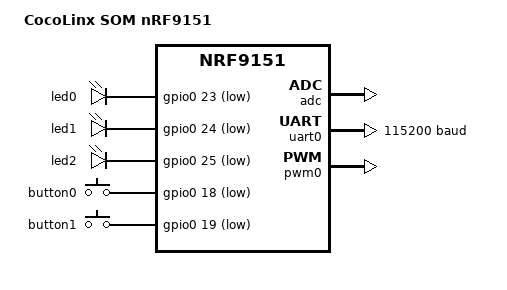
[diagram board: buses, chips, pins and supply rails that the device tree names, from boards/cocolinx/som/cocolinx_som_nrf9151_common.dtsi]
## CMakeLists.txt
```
cmake_minimum_required(VERSION 3.20.0)
find_package(Zephyr REQUIRED HINTS $ENV{ZEPHYR_BASE})

project(led_pwm)

target_sources(app PRIVATE src/main.c)
```

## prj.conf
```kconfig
CONFIG_FPU=y

# Stacks and heaps
CONFIG_MAIN_STACK_SIZE=4096
CONFIG_HEAP_MEM_POOL_SIZE=4096

# Log
CONFIG_LOG=y
CONFIG_LOG_DEFAULT_LEVEL=3
CONFIG_LOG_BUFFER_SIZE=2048
CONFIG_LOG_BACKEND_RTT=n
CONFIG_LOG_BACKEND_UART=y
CONFIG_LOG_BACKEND_UART_BUFFER_SIZE=2048

# Modem library
CONFIG_NRF_MODEM_LIB=y
CONFIG_NRF_MODEM_LIB_TRACE=n
CONFIG_ZVFS_OPEN_MAX=8

# FLASH # NVS
CONFIG_FLASH=y
CONFIG_FLASH_MAP=y
CONFIG_FLASH_PAGE_LAYOUT=y
CONFIG_MPU_ALLOW_FLASH_WRITE=y
CONFIG_NVS=y

# PWM
CONFIG_PWM=y
```

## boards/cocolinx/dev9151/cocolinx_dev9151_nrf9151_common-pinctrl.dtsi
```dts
/*
 * Copyright (c) 2023 cocolinx
 * SPDX-License-Identifier: Apache-2.0
 */

&pinctrl {
	uart0_default: uart0_default {
		group1 {
			psels = <NRF_PSEL(UART_TX, 0, 21)>,
					<NRF_PSEL(UART_RX, 0, 22)>;
		};
	};
	uart0_sleep: uart0_sleep {
		group1 {
			psels = <NRF_PSEL(UART_TX, 0, 21)>,
					<NRF_PSEL(UART_RX, 0, 22)>;
			low-power-enable;
		};
	};
	// uart2_default: uart2_default {
	// 	group1 {
	// 		psels = <NRF_PSEL(UART_TX, 0, 8)>,
	// 				<NRF_PSEL(UART_RX, 0, 9)>;
	// 	};
	// };
	// uart2_sleep: uart2_sleep {
	// 	group1 {
	// 		psels = <NRF_PSEL(UART_TX, 0, 8)>,
	// 				<NRF_PSEL(UART_RX, 0, 9)>;
	// 		low-power-enable;
	// 	};
	// };

	pwm0_default: pwm0_default {
		group1 {
			psels = <NRF_PSEL(PWM_OUT0, 0, 28)>;
		};
	};

	pwm0_sleep: pwm0_sleep {
		group1 {
			psels = <NRF_PSEL(PWM_OUT0, 0, 28)>;
			low-power-enable;
		};
	};

	// spi3_default: spi3_default {
	// 	group1 {
	// 		psels = <NRF_PSEL(SPIM_SCK, 0, 29)>,
	// 			<NRF_PSEL(SPIM_MOSI, 0, 31)>,
	// 			<NRF_PSEL(SPIM_MISO, 0, 13)>;
	// 	};
	// };

	// spi3_sleep: spi3_sleep {
	// 	group1 {
	// 		psels = <NRF_PSEL(SPIM_SCK, 0, 29)>,
	// 			<NRF_PSEL(SPIM_MOSI, 0, 31)>,
	// 			<NRF_PSEL(SPIM_MISO, 0, 13)>;
	// 		low-power-enable;
	// 	};
	// };

	// i2c1_default: i2c1_default {
	// 	group1 {
	// 		psels = <NRF_PSEL(TWIM_SDA, 0, 26)>,
	// 			<NRF_PSEL(TWIM_SCL, 0, 27)>;
	// 	};
	// };

	// i2c1_sleep: i2c1_sleep {
	// 	group1 {
	// 		psels = <NRF_PSEL(TWIM_SDA, 0, 26)>,
	// 			<NRF_PSEL(TWIM_SCL, 0, 27)>;
	// 		low-power-enable;
	// 	};
	// };

	// pwm0_default: pwm0_default {
	// 	group1 {
	// 		psels = <NRF_PSEL(PWM_OUT0, 0, 3)>;
	// 	};
	// };

	// pwm0_sleep: pwm0_sleep {
	// 	group1 {
	// 		psels = <NRF_PSEL(PWM_OUT0, 0, 3)>;
	// 		low-power-enable;
	// 	};
	// };
};
```

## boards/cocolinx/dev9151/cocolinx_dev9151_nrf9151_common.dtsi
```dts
/*
 * Copyright (c) 2023 cocolinx
 *
 * SPDX-License-Identifier: Apache-2.0
 */
#include "cocolinx_dev9151_nrf9151_common-pinctrl.dtsi"
#include <zephyr/dt-bindings/input/input-event-codes.h>

/ {
	model = "cocolinx dev9151 nRF9151";
	compatible = "cocolinx,dev9151-nrf9151";

	chosen {
		zephyr,console = &uart0;
		zephyr,shell-uart = &uart0;
		zephyr,uart-mcumgr = &uart0;
	};

	aliases {
		watchdog0 = &wdt0;
	};
};

&adc {
	status = "okay";
};

&gpiote {
	status = "okay";
};

&gpio0 {
	status = "okay";
};

&uart0 {
	status = "okay";
	current-speed = <115200>;
	pinctrl-0 = <&uart0_default>;
	pinctrl-1 = <&uart0_sleep>;
	pinctrl-names = "default", "sleep";
};

// &uart2 {
// 	status = "okay";
// 	current-speed = <115200>;
// 	pinctrl-0 = <&uart2_default>;
// 	pinctrl-1 = <&uart2_sleep>;
// 	pinctrl-names = "default", "sleep";
// };

// &spi3 {
// 	compatible = "nordic,nrf-spim";
// 	status = "okay";
// 	cs-gpios = < &gpio0 30 GPIO_ACTIVE_LOW >;
// 	pinctrl-0 = <&spi3_default>;
// 	pinctrl-1 = <&spi3_sleep>;
// 	pinctrl-names = "default", "sleep";	
// };

// &i2c1 {
// 	compatible = "nordic,nrf-twim";
// 	status = "okay";
// 	pinctrl-0 = <&i2c1_default>;
// 	pinctrl-1 = <&i2c1_sleep>;
// 	pinctrl-names = "default", "sleep";
// };

&pwm0 {
	status = "okay";
	pinctrl-0 = <&pwm0_default>;
	pinctrl-1 = <&pwm0_sleep>;
	pinctrl-names = "default", "sleep";
};

/* Include default memory partition configuration file */
#include <nordic/nrf91xx_partition.dtsi>
```

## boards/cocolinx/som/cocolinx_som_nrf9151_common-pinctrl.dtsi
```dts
/*
 * Copyright (c) 2025 cocolinx
 * SPDX-License-Identifier: Apache-2.0
 */

&pinctrl {
	uart0_default: uart0_default {
		group1 {
			psels = <NRF_PSEL(UART_TX, 0, 21)>,
					<NRF_PSEL(UART_RX, 0, 22)>;
		};
	};
	uart0_sleep: uart0_sleep {
		group1 {
			psels = <NRF_PSEL(UART_TX, 0, 21)>,
					<NRF_PSEL(UART_RX, 0, 22)>;
			low-power-enable;
		};
	};
	// uart2_default: uart2_default {
	// 	group1 {
	// 		psels = <NRF_PSEL(UART_TX, 0, 8)>,
	// 				<NRF_PSEL(UART_RX, 0, 9)>;
	// 	};
	// };
	// uart2_sleep: uart2_sleep {
	// 	group1 {
	// 		psels = <NRF_PSEL(UART_TX, 0, 8)>,
	// 				<NRF_PSEL(UART_RX, 0, 9)>;
	// 		low-power-enable;
	// 	};
	// };

	pwm0_default: pwm0_default {
		group1 {
			psels = <NRF_PSEL(PWM_OUT0, 0, 28)>;
		};
	};

	pwm0_sleep: pwm0_sleep {
		group1 {
			psels = <NRF_PSEL(PWM_OUT0, 0, 28)>;
			low-power-enable;
		};
	};

	// spi3_default: spi3_default {
	// 	group1 {
	// 		psels = <NRF_PSEL(SPIM_SCK, 0, 29)>,
	// 			<NRF_PSEL(SPIM_MOSI, 0, 31)>,
	// 			<NRF_PSEL(SPIM_MISO, 0, 13)>;
	// 	};
	// };

	// spi3_sleep: spi3_sleep {
	// 	group1 {
	// 		psels = <NRF_PSEL(SPIM_SCK, 0, 29)>,
	// 			<NRF_PSEL(SPIM_MOSI, 0, 31)>,
	// 			<NRF_PSEL(SPIM_MISO, 0, 13)>;
	// 		low-power-enable;
	// 	};
	// };

	// i2c1_default: i2c1_default {
	// 	group1 {
	// 		psels = <NRF_PSEL(TWIM_SDA, 0, 26)>,
	// 			<NRF_PSEL(TWIM_SCL, 0, 27)>;
	// 	};
	// };

	// i2c1_sleep: i2c1_sleep {
	// 	group1 {
	// 		psels = <NRF_PSEL(TWIM_SDA, 0, 26)>,
	// 			<NRF_PSEL(TWIM_SCL, 0, 27)>;
	// 		low-power-enable;
	// 	};
	// };

	// pwm0_default: pwm0_default {
	// 	group1 {
	// 		psels = <NRF_PSEL(PWM_OUT0, 0, 3)>;
	// 	};
	// };

	// pwm0_sleep: pwm0_sleep {
	// 	group1 {
	// 		psels = <NRF_PSEL(PWM_OUT0, 0, 3)>;
	// 		low-power-enable;
	// 	};
	// };
};
```

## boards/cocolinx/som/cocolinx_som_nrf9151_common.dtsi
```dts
/*
 * Copyright (c) 2025 cocolinx
 *
 * SPDX-License-Identifier: Apache-2.0
 */
#include "cocolinx_som_nrf9151_common-pinctrl.dtsi"
#include <zephyr/dt-bindings/input/input-event-codes.h>

/ {
	model = "CocoLinx SOM nRF9151";
	compatible = "cocolinx,som_nrf9151";

	chosen {
		zephyr,console = &uart0;
		zephyr,shell-uart = &uart0;
		zephyr,uart-mcumgr = &uart0;
	};

	leds {
		compatible = "gpio-leds";
		led0: led_0 {
			gpios = <&gpio0 23 GPIO_ACTIVE_LOW>;
			label = "led0";
		};
		led1: led_1 {
			gpios = <&gpio0 24 GPIO_ACTIVE_LOW>;
			label = "led1";
		};
		led2: led_2 {
			gpios = <&gpio0 25 GPIO_ACTIVE_LOW>;
			label = "led2";
		};
	};

	buttons {
		compatible = "gpio-keys";
		button0: button_0 {
			gpios = <&gpio0 18 (GPIO_PULL_UP | GPIO_ACTIVE_LOW)>;
			label = "button0";
			zephyr,code = <INPUT_KEY_0>;
		};
		button1: button_1 {
			gpios = <&gpio0 19 (GPIO_PULL_UP | GPIO_ACTIVE_LOW)>;
			label = "button1";
			zephyr,code = <INPUT_KEY_1>;
		};
	};
	aliases {
		watchdog0 = &wdt0;
		led0 = &led0;
		led1 = &led1;
		led2 = &led2;
		button0 = &button0;
		button1 = &button1;
	};
};

&adc {
	status = "okay";
};

&gpiote {
	status = "okay";
};

&gpio0 {
	status = "okay";
};

&uart0 {
	status = "okay";
	current-speed = <115200>;
	pinctrl-0 = <&uart0_default>;
	pinctrl-1 = <&uart0_sleep>;
	pinctrl-names = "default", "sleep";
};

// &uart2 {
// 	status = "okay";
// 	current-speed = <115200>;
// 	pinctrl-0 = <&uart2_default>;
// 	pinctrl-1 = <&uart2_sleep>;
// 	pinctrl-names = "default", "sleep";
// };

// &spi3 {
// 	compatible = "nordic,nrf-spim";
// 	status = "okay";
// 	cs-gpios = < &gpio0 30 GPIO_ACTIVE_LOW >;
// 	pinctrl-0 = <&spi3_default>;
// 	pinctrl-1 = <&spi3_sleep>;
// 	pinctrl-names = "default", "sleep";	
// };

// &i2c1 {
// 	compatible = "nordic,nrf-twim";
// 	status = "okay";
// 	pinctrl-0 = <&i2c1_default>;
// 	pinctrl-1 = <&i2c1_sleep>;
// 	pinctrl-names = "default", "sleep";
// };

&pwm0 {
	status = "okay";
	pinctrl-0 = <&pwm0_default>;
	pinctrl-1 = <&pwm0_sleep>;
	pinctrl-names = "default", "sleep";
};

/* Include default memory partition configuration file */
#include <nordic/nrf91xx_partition.dtsi>
```

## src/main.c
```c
#include <zephyr/kernel.h>
#include <zephyr/logging/log.h>
#include <zephyr/drivers/pwm.h>
#include <nrf_modem.h> 
#include <nrf_modem_at.h> 
#include <nrfx_pwm.h>
#include <modem/nrf_modem_lib.h>

LOG_MODULE_REGISTER(main_pwm, CONFIG_LOG_DEFAULT_LEVEL);

/*pin 0.28*/
static const struct device *led_pwm = DEVICE_DT_GET(DT_NODELABEL(pwm0));

int main(void)
{
    nrf_modem_lib_init();
    LOG_INF("=====PWM EXAMPLE=====");

    /*you need to set width and period value*/
    uint32_t width =   10000;
    uint32_t period = 100000;
    pwm_set(led_pwm, 0, period, width, PWM_POLARITY_NORMAL);

    while (true)
    {        
        k_msleep(1000);
        width += 10000;
        if(width >= period) width = 10000;
        pwm_set(led_pwm, 0, period, width, PWM_POLARITY_NORMAL);
    }

    return 0;
}
```
